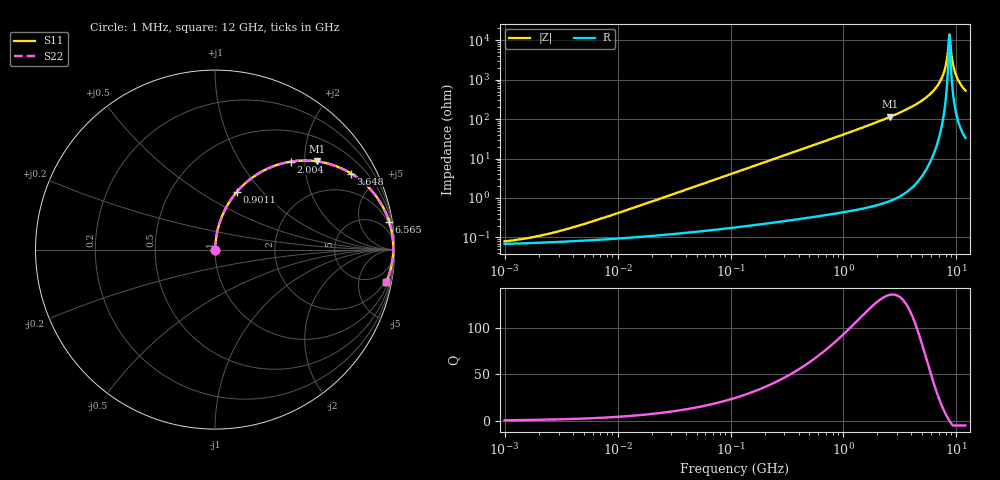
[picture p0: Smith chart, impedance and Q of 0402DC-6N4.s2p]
# MHz  S  MA  R  50
!Freq  MagS11  AngS11  MagS21  AngS21  MagS12  AngS12  MagS22  AngS22
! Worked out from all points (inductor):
!   801 points, 1 MHz to 12 GHz, reference 50 ohm
!   read as one part in series: L = 6.4 nH near 6.478 MHz
!   highest Q = 136 at 2.595 GHz (marker M1), where L = 7.03 nH
!   self-resonance near 8.602 GHz
!   S11 on the Smith chart (normalised r, x): 1 MHz: 1.00, +0.00; 901.1 MHz: 1.01, +0.73; 2.004 GHz: 1.01, +1.70; 3.648 GHz: 1.03, +3.56; 6.565 GHz: 1, +12; 12 GHz: 2, -11
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1  0.0007951 30.3  0.9993 -0.0  0.9993 -0.0  0.0007951 30.3
2.096551  0.00112 48.7  0.9993 -0.0  0.9993 -0.0  0.00112 48.7
4.828773  0.002108 66.8  0.9992 -0.1  0.9992 -0.1  0.002108 66.8
23.04466  0.009324 82.5  0.9988 -0.5  0.9988 -0.5  0.009324 82.5
109.9775  0.04415 85.2  0.9972 -2.5  0.9972 -2.5  0.04415 85.2
524.8526  0.2066 77.2  0.9752 -11.9  0.9752 -11.9  0.2066 77.2
901.1297  0.3427 69.3  0.9356 -20.0  0.9356 -20.0  0.3427 69.3
2003.59  0.6457 49.3  0.7586 -40.2  0.7586 -40.2  0.6457 49.3
2534.394  0.7415 41.7  0.6655 -47.9  0.6655 -47.9  0.7415 41.7
2594.661  0.7507 40.9  0.6551 -48.7  0.6551 -48.7  0.7507 40.9
3648.171  0.8691 29.2  0.4877 -60.4  0.4877 -60.4  0.8691 29.2
5129.437  0.9502 17.4  0.2996 -71.8  0.2996 -71.8  0.9502 17.4
6565.052  0.9826 9.2  0.1591 -79.1  0.1591 -79.1  0.9826 9.2
7648.575  0.9917 4.1  0.07206 -81.3  0.07206 -81.3  0.9917 4.1
8016.662  0.9929 2.6  0.04544 -79.7  0.04544 -79.7  0.9929 2.6
8402.463  0.9933 1.0  0.01938 -69.3  0.01938 -69.3  0.9933 1.0
8703.95  0.9931 -0.1  0.007113 14.7  0.007113 14.7  0.9931 -0.1
8910.928  0.9928 -0.9  0.01678 64.0  0.01678 64.0  0.9928 -0.9
9450.161  0.991 -2.8  0.0492 78.1  0.0492 78.1  0.991 -2.8
9904.949  0.9887 -4.3  0.07572 79.3  0.07572 79.3  0.9887 -4.3
10754.12  0.9829 -7.0  0.1222 78.4  0.1222 78.4  0.9829 -7.0
12000  0.9713 -10.6  0.184 75.8  0.184 75.8  0.9713 -10.6
